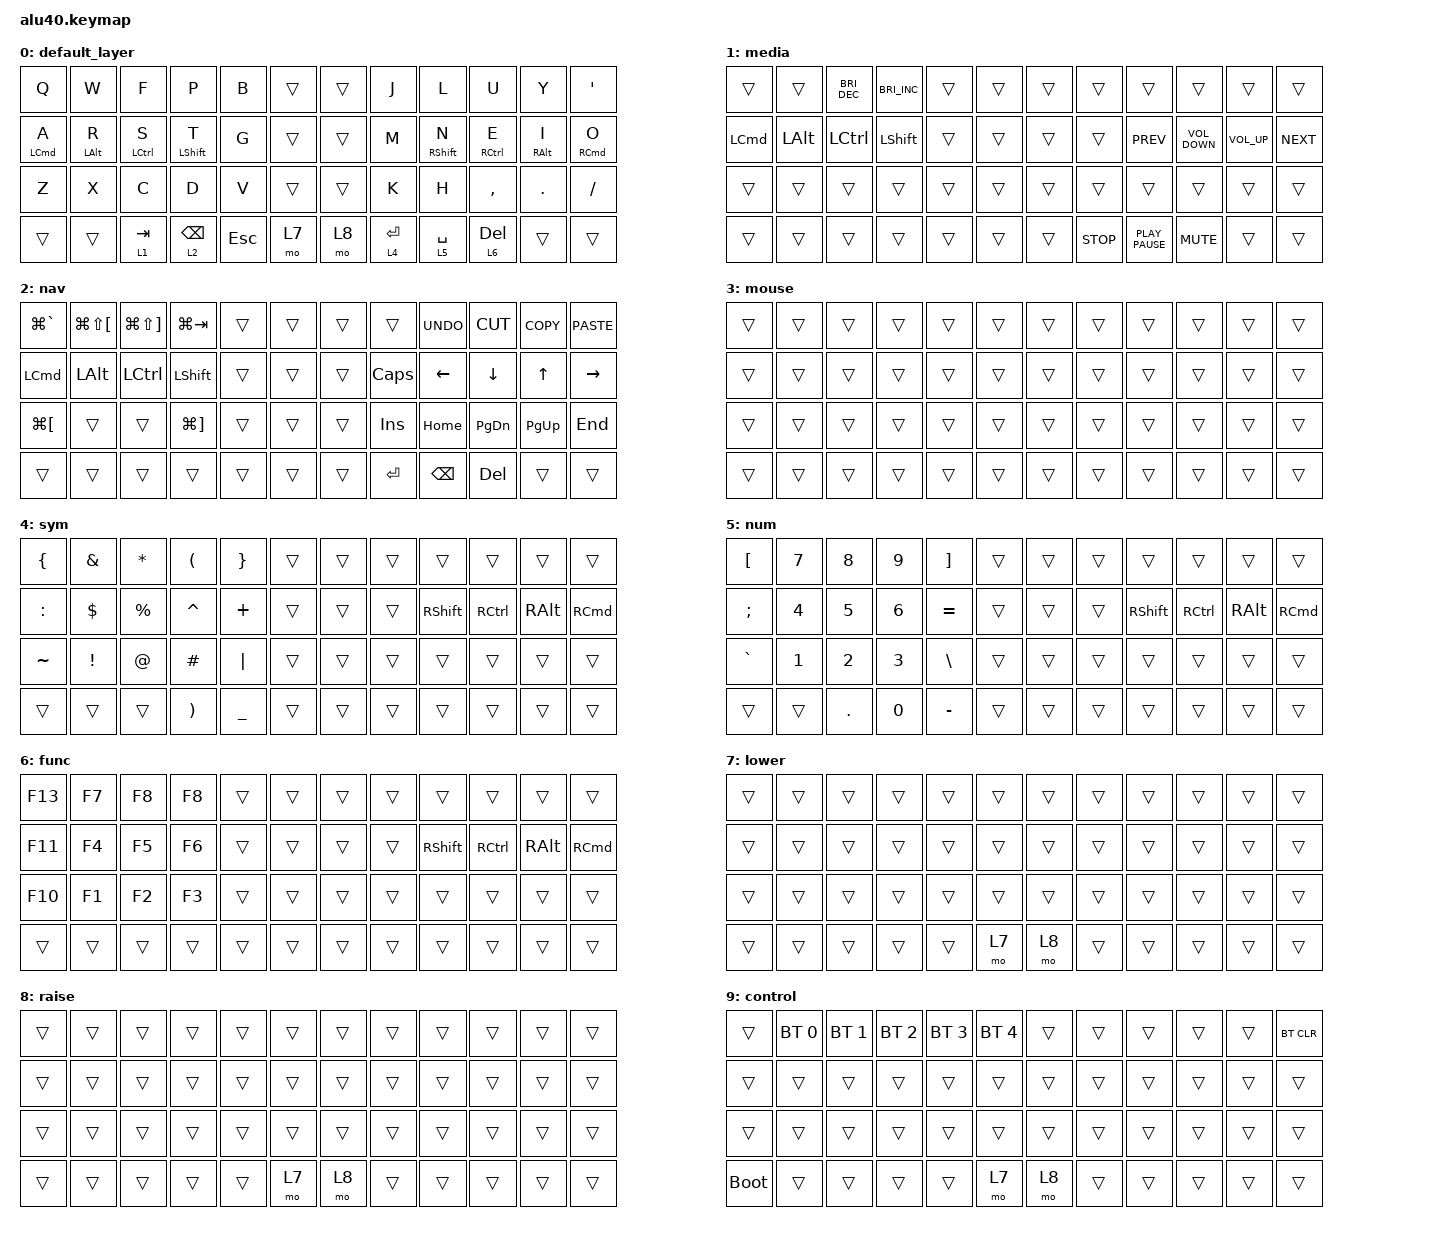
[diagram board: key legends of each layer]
/*
 * Copyright (c) 2022 The ZMK Contributors
 *
 * SPDX-License-Identifier: MIT
 */

#include <behaviors.dtsi>
#include <dt-bindings/zmk/bt.h>
#include <dt-bindings/zmk/keys.h>

&mt {
    flavor = "balanced";
};

/ {
    keymap {
        compatible = "zmk,keymap";

        default_layer {
            // -----------------------------------------------------------------------------------------
            // | ESC/~ |  Q   |  W   |  E   |  R   |  T   |   Y   |  U    |  I   |  O   |   P   | BSPC  |
            // | TAB   |  A   |  S   |  D   |  F   |  G   |   H   |  J    |  K   |  L   |   ;   |  '    |
            // | SHIFT |  Z   |  X   |  C   |  V   |  B   |   N   |  M    |  ,   |  .   |   /   |RET/SFT|
            // | PLAY  | LCTL | LALT | LGUI | LOWR |     SPACE    |  RAIS | LARW | UARW | DARW  |  RARW |

            bindings = <
&kp Q               &kp W           &kp F        &kp P             &kp B       &trans  &trans  &kp J      &kp L              &kp U                &kp Y            &kp SQT
&mt LEFT_COMMAND A  &mt LEFT_ALT R  &mt LCTRL S  &mt LEFT_SHIFT T  &kp G       &trans  &trans  &kp M      &mt RIGHT_SHIFT N  &mt RIGHT_CONTROL E  &mt RIGHT_ALT I  &mt RIGHT_COMMAND O
&kp Z               &kp X           &kp C        &kp D             &kp V       &trans  &trans  &kp K      &kp H              &kp COMMA            &kp PERIOD       &kp SLASH
&trans              &trans          &lt 1 TAB    &lt 2 BACKSPACE   &kp ESCAPE  &mo 7   &mo 8   &lt 4 RET  &lt 5 SPACE        &lt 6 DEL            &trans           &trans
            >;
        };

        media {
            bindings = <
&trans            &trans        &kp C_BRI_DEC  &kp C_BRIGHTNESS_INC  &trans  &trans  &trans  &trans      &trans            &trans             &trans           &trans
&kp LEFT_COMMAND  &kp LEFT_ALT  &kp LCTRL      &kp LEFT_SHIFT        &trans  &trans  &trans  &trans      &kp C_PREV        &kp C_VOLUME_DOWN  &kp C_VOLUME_UP  &kp C_NEXT
&trans            &trans        &trans         &trans                &trans  &trans  &trans  &trans      &trans            &trans             &trans           &trans
&trans            &trans        &trans         &trans                &trans  &trans  &trans  &kp C_STOP  &kp K_PLAY_PAUSE  &kp K_MUTE         &trans           &trans
            >;
        };

        nav {
            bindings = <
&kp LG(GRAVE)         &kp LG(LS(LEFT_BRACKET))  &kp LG(LS(RIGHT_BRACKET))  &kp LG(TAB)            &trans  &trans  &trans  &trans      &kp K_UNDO     &kp K_CUT      &kp K_COPY   &kp K_PASTE
&kp LEFT_COMMAND      &kp LEFT_ALT              &kp LEFT_CONTROL           &kp LEFT_SHIFT         &trans  &trans  &trans  &kp CAPS    &kp LEFT       &kp DOWN       &kp UP       &kp RIGHT
&kp LG(LEFT_BRACKET)  &trans                    &trans                     &kp LG(RIGHT_BRACKET)  &trans  &trans  &trans  &kp INSERT  &kp HOME       &kp PAGE_DOWN  &kp PAGE_UP  &kp END
&trans                &trans                    &trans                     &trans                 &trans  &trans  &trans  &kp ENTER   &kp BACKSPACE  &kp DEL        &trans       &trans
            >;
        };

        mouse {
            bindings = <
&trans  &trans  &trans  &trans  &trans  &trans  &trans  &trans  &trans  &trans  &trans  &trans
&trans  &trans  &trans  &trans  &trans  &trans  &trans  &trans  &trans  &trans  &trans  &trans
&trans  &trans  &trans  &trans  &trans  &trans  &trans  &trans  &trans  &trans  &trans  &trans
&trans  &trans  &trans  &trans  &trans  &trans  &trans  &trans  &trans  &trans  &trans  &trans
            >;
        };

        sym {
            bindings = <
&kp LEFT_BRACE  &kp AMPERSAND  &kp STAR     &kp LEFT_PARENTHESIS   &kp RIGHT_BRACE  &trans  &trans  &trans  &trans           &trans             &trans         &trans
&kp COLON       &kp DOLLAR     &kp PERCENT  &kp CARET              &kp PLUS         &trans  &trans  &trans  &kp RIGHT_SHIFT  &kp RIGHT_CONTROL  &kp RIGHT_ALT  &kp RIGHT_COMMAND
&kp TILDE       &kp EXCL       &kp AT       &kp HASH               &kp PIPE         &trans  &trans  &trans  &trans           &trans             &trans         &trans
&trans          &trans         &trans       &kp RIGHT_PARENTHESIS  &kp UNDER        &trans  &trans  &trans  &trans           &trans             &trans         &trans
            >;
        };

        num {
            bindings = <
&kp LEFT_BRACKET  &kp NUMBER_7  &kp NUMBER_8  &kp NUMBER_9  &kp RIGHT_BRACKET  &trans  &trans  &trans  &trans           &trans             &trans         &trans
&kp SEMICOLON     &kp NUMBER_4  &kp NUMBER_5  &kp NUMBER_6  &kp EQUAL          &trans  &trans  &trans  &kp RIGHT_SHIFT  &kp RIGHT_CONTROL  &kp RIGHT_ALT  &kp RIGHT_COMMAND
&kp GRAVE         &kp NUMBER_1  &kp NUMBER_2  &kp NUMBER_3  &kp BACKSLASH      &trans  &trans  &trans  &trans           &trans             &trans         &trans
&trans            &trans        &kp DOT       &kp NUMBER_0  &kp MINUS          &trans  &trans  &trans  &trans           &trans             &trans         &trans
            >;
        };

        func {
            bindings = <
&kp F13  &kp F7  &kp F8  &kp F8  &trans  &trans  &trans  &trans  &trans           &trans             &trans         &trans
&kp F11  &kp F4  &kp F5  &kp F6  &trans  &trans  &trans  &trans  &kp RIGHT_SHIFT  &kp RIGHT_CONTROL  &kp RIGHT_ALT  &kp RIGHT_COMMAND
&kp F10  &kp F1  &kp F2  &kp F3  &trans  &trans  &trans  &trans  &trans           &trans             &trans         &trans
&trans   &trans  &trans  &trans  &trans  &trans  &trans  &trans  &trans           &trans             &trans         &trans
            >;
        };

        lower {
            bindings = <
&trans  &trans  &trans  &trans  &trans  &trans  &trans  &trans  &trans  &trans  &trans  &trans
&trans  &trans  &trans  &trans  &trans  &trans  &trans  &trans  &trans  &trans  &trans  &trans
&trans  &trans  &trans  &trans  &trans  &trans  &trans  &trans  &trans  &trans  &trans  &trans
&trans  &trans  &trans  &trans  &trans  &mo 7   &mo 8   &trans  &trans  &trans  &trans  &trans
            >;
        };

        raise {
            bindings = <
&trans  &trans  &trans  &trans  &trans  &trans  &trans  &trans  &trans  &trans  &trans  &trans
&trans  &trans  &trans  &trans  &trans  &trans  &trans  &trans  &trans  &trans  &trans  &trans
&trans  &trans  &trans  &trans  &trans  &trans  &trans  &trans  &trans  &trans  &trans  &trans
&trans  &trans  &trans  &trans  &trans  &mo 7   &mo 8   &trans  &trans  &trans  &trans  &trans
            >;
        };

        control {
            bindings = <
&trans       &bt BT_SEL 0  &bt BT_SEL 1  &bt BT_SEL 2  &bt BT_SEL 3  &bt BT_SEL 4  &trans  &trans  &trans  &trans  &trans  &bt BT_CLR
&trans       &trans        &trans        &trans        &trans        &trans        &trans  &trans  &trans  &trans  &trans  &trans
&trans       &trans        &trans        &trans        &trans        &trans        &trans  &trans  &trans  &trans  &trans  &trans
&bootloader  &trans        &trans        &trans        &trans        &mo 7         &mo 8   &trans  &trans  &trans  &trans  &trans
            >;
        };
    };

    conditional_layers {
        compatible = "zmk,conditional-layers";

        control_activated {
            if-layers = <7 8>;
            then-layer = <9>;
        };
    };
};
